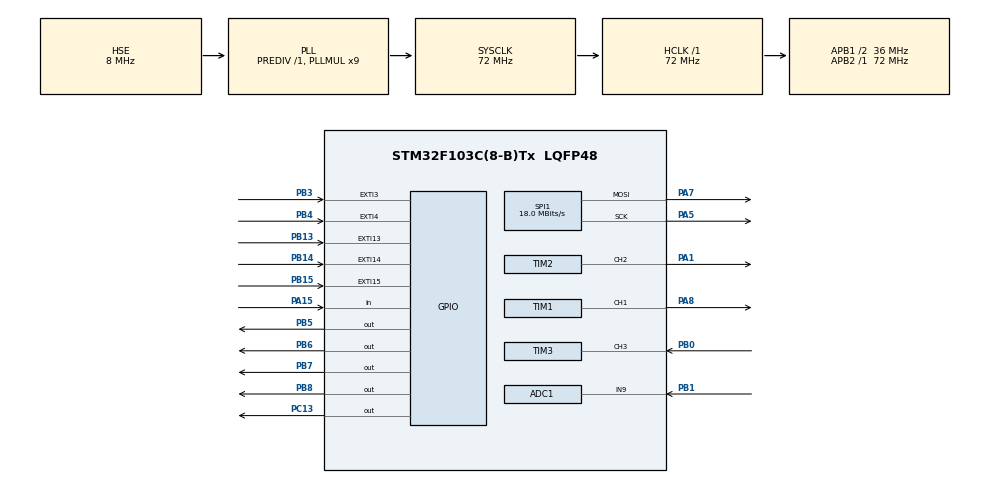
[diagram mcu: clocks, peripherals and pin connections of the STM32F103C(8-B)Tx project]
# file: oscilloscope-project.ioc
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ADC1.Channel-0\#ChannelRegularConversion=ADC_CHANNEL_9
ADC1.ContinuousConvMode=DISABLE
ADC1.ExternalTrigConv=ADC_EXTERNALTRIGCONV_T2_CC2
ADC1.NbrOfConversion=1
ADC1.NbrOfConversionFlag=1
ADC1.Rank-0\#ChannelRegularConversion=1
ADC1.SamplingTime-0\#ChannelRegularConversion=ADC_SAMPLETIME_239CYCLES_5
ADC1.master=1
Dma.ADC1.1.Direction=DMA_PERIPH_TO_MEMORY
Dma.ADC1.1.Instance=DMA1_Channel1
Dma.ADC1.1.MemDataAlignment=DMA_MDATAALIGN_HALFWORD
Dma.ADC1.1.MemInc=DMA_MINC_ENABLE
Dma.ADC1.1.Mode=DMA_CIRCULAR
Dma.ADC1.1.PeriphDataAlignment=DMA_PDATAALIGN_HALFWORD
Dma.ADC1.1.PeriphInc=DMA_PINC_DISABLE
Dma.ADC1.1.Priority=DMA_PRIORITY_HIGH
Dma.Request0=SPI1_TX
Dma.Request1=ADC1
Dma.SPI1_TX.0.Direction=DMA_MEMORY_TO_PERIPH
Dma.SPI1_TX.0.Instance=DMA1_Channel3
Dma.SPI1_TX.0.MemDataAlignment=DMA_MDATAALIGN_BYTE
Dma.SPI1_TX.0.MemInc=DMA_MINC_ENABLE
Dma.SPI1_TX.0.Mode=DMA_NORMAL
Dma.SPI1_TX.0.PeriphDataAlignment=DMA_PDATAALIGN_BYTE
Dma.SPI1_TX.0.PeriphInc=DMA_PINC_DISABLE
Dma.SPI1_TX.0.Priority=DMA_PRIORITY_LOW
Mcu.Family=STM32F1
Mcu.Name=STM32F103C(8-B)Tx
Mcu.Package=LQFP48
NVIC.ADC1_2_IRQn=true\:12\:0\:true\:false\:true\:true\:true\:true
NVIC.DMA1_Channel1_IRQn=true\:14\:0\:true\:false\:true\:false\:true\:true
NVIC.DMA1_Channel3_IRQn=true\:13\:0\:true\:false\:true\:false\:true\:true
NVIC.EXTI15_10_IRQn=true\:2\:0\:true\:false\:true\:true\:true\:true
NVIC.EXTI3_IRQn=true\:11\:0\:true\:false\:true\:true\:true\:true
NVIC.EXTI4_IRQn=true\:11\:0\:true\:false\:true\:true\:true\:true
NVIC.PriorityGroup=NVIC_PRIORITYGROUP_4
NVIC.TIM3_IRQn=true\:1\:0\:true\:false\:true\:true\:true\:true
PA1.Signal=S_TIM2_CH2
PA13.Mode=Serial_Wire
PA13.Signal=SYS_JTMS-SWDIO
PA14.Mode=Serial_Wire
PA14.Signal=SYS_JTCK-SWCLK
PA15.GPIO_PuPd=GPIO_PULLUP
PA15.Signal=GPIO_Input
PA5.Mode=TX_Only_Simplex_Unidirect_Master
PA5.Signal=SPI1_SCK
PA7.Mode=TX_Only_Simplex_Unidirect_Master
PA7.Signal=SPI1_MOSI
PA8.Signal=S_TIM1_CH1
PB0.Signal=S_TIM3_CH3
PB1.Signal=ADCx_IN9
PB13.GPIO_ModeDefaultEXTI=GPIO_MODE_IT_FALLING
PB13.GPIO_PuPd=GPIO_PULLUP
PB13.Signal=GPXTI13
PB14.GPIO_ModeDefaultEXTI=GPIO_MODE_IT_FALLING
PB14.GPIO_PuPd=GPIO_PULLUP
PB14.Signal=GPXTI14
PB15.GPIO_ModeDefaultEXTI=GPIO_MODE_IT_FALLING
PB15.GPIO_PuPd=GPIO_PULLUP
PB15.Signal=GPXTI15
PB3.GPIO_ModeDefaultEXTI=GPIO_MODE_IT_RISING_FALLING
PB3.GPIO_PuPd=GPIO_PULLUP
PB3.Signal=GPXTI3
PB4.GPIO_ModeDefaultEXTI=GPIO_MODE_IT_RISING_FALLING
PB4.GPIO_PuPd=GPIO_PULLUP
PB4.Signal=GPXTI4
PB5.PinState=GPIO_PIN_SET
PB5.Signal=GPIO_Output
PB6.PinState=GPIO_PIN_SET
PB6.Signal=GPIO_Output
PB7.PinState=GPIO_PIN_SET
PB7.Signal=GPIO_Output
PB8.PinState=GPIO_PIN_SET
PB8.Signal=GPIO_Output
PC13-TAMPER-RTC.GPIO_ModeDefaultOutputPP=GPIO_MODE_OUTPUT_OD
PC13-TAMPER-RTC.GPIO_PuPd=GPIO_NOPULL
PC13-TAMPER-RTC.GPIO_Speed=GPIO_SPEED_FREQ_HIGH
PC13-TAMPER-RTC.Signal=GPIO_Output
PD0-OSC_IN.Mode=HSE-External-Oscillator
PD0-OSC_IN.Signal=RCC_OSC_IN
PD1-OSC_OUT.Mode=HSE-External-Oscillator
PD1-OSC_OUT.Signal=RCC_OSC_OUT
ProjectManager.HeapSize=0x200
ProjectManager.StackSize=0x400
ProjectManager.TargetToolchain=MDK-ARM V5.32
RCC.ADCPresc=RCC_ADCPCLK2_DIV6
RCC.AHBFreq_Value=72000000
RCC.APB1CLKDivider=RCC_HCLK_DIV2
RCC.APB1Freq_Value=36000000
RCC.APB1TimFreq_Value=72000000
RCC.APB2Freq_Value=72000000
RCC.APB2TimFreq_Value=72000000
RCC.HCLKFreq_Value=72000000
RCC.PLLMUL=RCC_PLL_MUL9
RCC.PLLSourceVirtual=RCC_PLLSOURCE_HSE
RCC.SYSCLKFreq_VALUE=72000000
RCC.SYSCLKSource=RCC_SYSCLKSOURCE_PLLCLK
RCC.USBFreq_Value=72000000
SH.ADCx_IN9.0=ADC1_IN9,IN9
SH.ADCx_IN9.1=ADC2_IN9
SH.S_TIM1_CH1.0=TIM1_CH1,PWM Generation1 CH1
SH.S_TIM2_CH2.0=TIM2_CH2,PWM Generation2 CH2
SH.S_TIM3_CH3.0=TIM3_CH3,Input_Capture3_from_TI3
SPI1.BaudRatePrescaler=SPI_BAUDRATEPRESCALER_4
SPI1.CLKPhase=SPI_PHASE_2EDGE
SPI1.CLKPolarity=SPI_POLARITY_HIGH
SPI1.CalculateBaudRate=18.0 MBits/s
SPI1.Direction=SPI_DIRECTION_2LINES
SPI1.Mode=SPI_MODE_MASTER
SPI1.VirtualType=VM_MASTER
TIM1.Channel-PWM\ Generation1\ CH1=TIM_CHANNEL_1
TIM1.Period=1000-1
TIM1.Prescaler=72-1
TIM1.Pulse-PWM\ Generation1\ CH1=500
TIM2.Channel-PWM\ Generation2\ CH2=TIM_CHANNEL_2
TIM2.Period=20-1
TIM2.Prescaler=72-1
TIM2.Pulse-PWM\ Generation2\ CH2=1
TIM2.TIM_MasterOutputTrigger=TIM_TRGO_UPDATE
TIM3.Channel-Input_Capture3_from_TI3=TIM_CHANNEL_3
TIM3.Prescaler=71
VP_TIM2_VS_ClockSourceINT.Mode=Internal
board=custom

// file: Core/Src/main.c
/* USER CODE BEGIN Header */
/**
  ******************************************************************************
  * @file           : main.c
  * @brief          : 应用入口：初始化 -> 主循环调度
  ******************************************************************************
  * @attention
  *
  * Copyright (c) 2024 STMicroelectronics.
  * All rights reserved.
  *
  * This software is licensed under terms that can be found in the LICENSE file
  * in the root directory of this software component.
  * If no LICENSE file comes with this software, it is provided AS-IS.
  *
  ******************************************************************************
  */
/* USER CODE END Header */
#include "main.h"
#include "adc.h"
#include "dma.h"
#include "spi.h"
#include "tim.h"
#include "gpio.h"

/* USER CODE BEGIN Includes */
#include "tft.h"
#include "tft_init.h"
#include "app_ui.h"
#include "app_scope.h"
#include "app_key.h"
/* USER CODE END Includes */

/* USER CODE BEGIN PD */
/* TFT 初始化次数：0 = 只初始化一次（TFT_Init 内部已加软件复位 SWRESET）
                    1 = 连续初始化两次（旧版保险做法，启动多约 0.5s）
   如果改成 0 后出现白屏，说明软件复位仍未让面板就绪，改回 1。 */
#define TFT_INIT_TWICE   0

/* USER CODE END PD */

void SystemClock_Config(void);
/* USER CODE BEGIN PFP */
static void Init_Oscilloscope(volatile struct Oscilloscope *value);
/* USER CODE END PFP */

/* USER CODE BEGIN 0 */
volatile struct Oscilloscope oscilloscope = {0};
/* USER CODE END 0 */

int main(void)
{

  /* MCU Configuration--------------------------------------------------------*/

  /* Reset of all peripherals, Initializes the Flash interface and the Systick. */
  HAL_Init();

  /* Configure the system clock */
  SystemClock_Config();

  /* Initialize all configured peripherals */
  MX_GPIO_Init();
  MX_DMA_Init();
  MX_ADC1_Init();
  MX_SPI1_Init();
  MX_TIM3_Init();
  MX_TIM1_Init();
  MX_TIM2_Init();
  /* USER CODE BEGIN 2 */
	HAL_TIM_IC_Start_IT(&htim3, TIM_CHANNEL_3);   /* 输入捕获测频   */
	HAL_TIM_PWM_Start(&htim1, TIM_CHANNEL_1);     /* PWM 输出，常开 */
	HAL_TIM_PWM_Start(&htim2, TIM_CHANNEL_2);     /* ADC 采样触发源 */

	Init_Oscilloscope(&oscilloscope);
	TIME_Init();                                  /* 应用默认时基（含 TIM2 周期）*/

	Scope_AdcCalibrate();                         /* ADC 硬件自校准 */

	HAL_Delay(100);                               /* 等 TFT 上电稳定 */
	TFT_Init();
#if TFT_INIT_TWICE
	HAL_Delay(100);
	TFT_Init();                                   /* 旧版保险做法：初始化两次 */
#endif
	TFT_Fill(0,0,160,128,BLACK);
	UI_Init();

	Scope_ZeroCalibrate();                        /* 含等待 -5V 稳定 */

	LED_Off();                                    /* 运行中灯灭 */
	HAL_ADC_Start_DMA(&hadc1, (uint32_t *)adc_value, ADC_VALUE_NUM);
  /* USER CODE END 2 */

  /* Infinite loop */
  while (1)
  {

    /* USER CODE BEGIN 3 */
		KEY_Scan(&oscilloscope);                  /* 三个功能键      */
		KEY_Handle(&oscilloscope);                /* 执行按键动作    */

		KEY_EncScan(&oscilloscope);               /* 编码器按键      */
		if(oscilloscope.keyValue == KEYDPRESS)
		{
			oscilloscope.keyValue = NoPRESS;
			Scope_Hold();                         /* 暂停 / 继续     */
		}

		if(oscilloscope.showbit == 1)
		{
			oscilloscope.showbit = 0;
			Scope_ProcessFrame();                 /* 换算、测量、绘制 */
		}

		Scope_UpdateTrigMark();                   /* 标记独立刷新，慢档也跟手 */
		UI_Refresh(&oscilloscope);                /* 内部做变化检测   */
  }
  /* USER CODE END 3 */
}

void SystemClock_Config(void)
{
  RCC_OscInitTypeDef RCC_OscInitStruct = {0};
  RCC_ClkInitTypeDef RCC_ClkInitStruct = {0};
  RCC_PeriphCLKInitTypeDef PeriphClkInit = {0};

  /** Initializes the RCC Oscillators according to the specified parameters
  * in the RCC_OscInitTypeDef structure.
  */
  RCC_OscInitStruct.OscillatorType = RCC_OSCILLATORTYPE_HSE;
  RCC_OscInitStruct.HSEState = RCC_HSE_ON;
  RCC_OscInitStruct.HSEPredivValue = RCC_HSE_PREDIV_DIV1;
  RCC_OscInitStruct.HSIState = RCC_HSI_ON;
  RCC_OscInitStruct.PLL.PLLState = RCC_PLL_ON;
  RCC_OscInitStruct.PLL.PLLSource = RCC_PLLSOURCE_HSE;
  RCC_OscInitStruct.PLL.PLLMUL = RCC_PLL_MUL9;
  if (HAL_RCC_OscConfig(&RCC_OscInitStruct) != HAL_OK)
  {
    Error_Handler();
  }

  /** Initializes the CPU, AHB and APB buses clocks
  */
  RCC_ClkInitStruct.ClockType = RCC_CLOCKTYPE_HCLK|RCC_CLOCKTYPE_SYSCLK
                              |RCC_CLOCKTYPE_PCLK1|RCC_CLOCKTYPE_PCLK2;
  RCC_ClkInitStruct.SYSCLKSource = RCC_SYSCLKSOURCE_PLLCLK;
  RCC_ClkInitStruct.AHBCLKDivider = RCC_SYSCLK_DIV1;
  RCC_ClkInitStruct.APB1CLKDivider = RCC_HCLK_DIV2;
  RCC_ClkInitStruct.APB2CLKDivider = RCC_HCLK_DIV1;

  if (HAL_RCC_ClockConfig(&RCC_ClkInitStruct, FLASH_LATENCY_2) != HAL_OK)
  {
    Error_Handler();
  }
  PeriphClkInit.PeriphClockSelection = RCC_PERIPHCLK_ADC;
  PeriphClkInit.AdcClockSelection = RCC_ADCPCLK2_DIV6;
  if (HAL_RCCEx_PeriphCLKConfig(&PeriphClkInit) != HAL_OK)
  {
    Error_Handler();
  }
}

/* USER CODE BEGIN 4 */
/**
  * @brief  运行时上下文的初始值
  * @param  value 上下文指针
  * @retval None
  */
static void Init_Oscilloscope(volatile struct Oscilloscope *value)
{
    (*value).showbit    = 0;
    (*value).keyValue   = 0;
    (*value).range10x   = 0;
    (*value).uiSel      = SEL_RANGE;
    (*value).clipFlag   = 0;
    (*value).duty       = 0;
    (*value).sampletime = ADC_SAMPLETIME_239CYCLES_5;
    (*value).gatherFreq = 0;
    (*value).vpp        = 0.0f;
    (*value).trigLevel  = 1.0f;
}
/* USER CODE END 4 */

void Error_Handler(void)
{
  __disable_irq();
  while (1)
  {
  }
}
